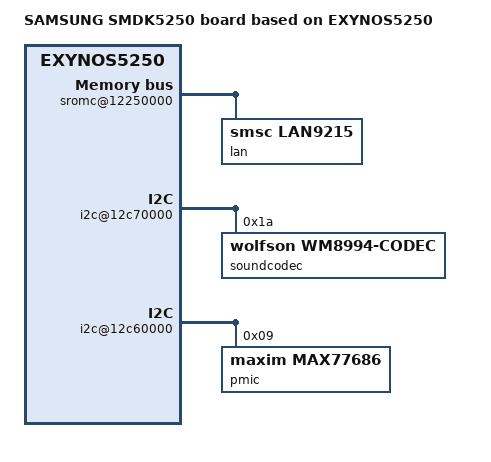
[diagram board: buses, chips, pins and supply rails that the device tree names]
/*
 * SAMSUNG SMDK5250 board device tree source
 *
 * Copyright (c) 2012 Samsung Electronics Co., Ltd.
 *		http://www.samsung.com
 *
 * This program is free software; you can redistribute it and/or modify
 * it under the terms of the GNU General Public License version 2 as
 * published by the Free Software Foundation.
*/

/dts-v1/;
#include "exynos5250.dtsi"

/ {
	model = "SAMSUNG SMDK5250 board based on EXYNOS5250";
	compatible = "samsung,smdk5250", "samsung,exynos5250";

	aliases {
		i2c0 = "/i2c@12c60000";
		i2c1 = "/i2c@12c70000";
		i2c2 = "/i2c@12c80000";
		i2c3 = "/i2c@12c90000";
		i2c4 = "/i2c@12ca0000";
		i2c5 = "/i2c@12cb0000";
		i2c6 = "/i2c@12cc0000";
		i2c7 = "/i2c@12cd0000";
		spi0 = "/spi@12d20000";
		spi1 = "/spi@12d30000";
		spi2 = "/spi@12d40000";
		spi3 = "/spi@131a0000";
		spi4 = "/spi@131b0000";
		mmc0 = "/mmc@12200000";
		mmc1 = "/mmc@12210000";
		mmc2 = "/mmc@12220000";
		mmc3 = "/mmc@12230000";
		serial0 = "/serial@12C30000";
		console = "/serial@12C30000";
		i2s = "/sound@3830000";
	};

	sromc@12250000 {
		bank = <1>;
		srom-timing = <1 9 12 1 6 1 1>;
		width = <2>;
		lan@5000000 {
			compatible = "smsc,lan9215", "smsc,lan";
			reg = <0x5000000 0x100>;
			phy-mode = "mii";
		};
	};

	sound@3830000 {
		samsung,codec-type = "wm8994";
	};

	sound@12d60000 {
		status = "disabled";
	};

	i2c@12c70000 {
		soundcodec@1a {
			reg = <0x1a>;
			compatible = "wolfson,wm8994-codec";
		};
	};

	i2c@12c60000 {
		pmic@9 {
			reg = <0x9>;
			compatible = "maxim,max77686";
		};
	};

	tmu@10060000 {
		samsung,min-temp	= <25>;
		samsung,max-temp	= <125>;
		samsung,start-warning	= <95>;
		samsung,start-tripping	= <105>;
		samsung,hw-tripping	= <110>;
		samsung,efuse-min-value	= <40>;
		samsung,efuse-value	= <55>;
		samsung,efuse-max-value	= <100>;
		samsung,slope		= <274761730>;
		samsung,dc-value	= <25>;
	};

	fimd@14400000 {
		samsung,vl-freq = <60>;
		samsung,vl-col = <2560>;
		samsung,vl-row = <1600>;
		samsung,vl-width = <2560>;
		samsung,vl-height = <1600>;

		samsung,vl-clkp;
		samsung,vl-dp;
		samsung,vl-bpix = <4>;

		samsung,vl-hspw = <32>;
		samsung,vl-hbpd = <80>;
		samsung,vl-hfpd = <48>;
		samsung,vl-vspw = <6>;
		samsung,vl-vbpd = <37>;
		samsung,vl-vfpd = <3>;
		samsung,vl-cmd-allow-len = <0xf>;

		samsung,winid = <3>;
		samsung,interface-mode = <1>;
		samsung,dp-enabled = <1>;
		samsung,dual-lcd-enabled = <0>;
	};

	dp@145b0000 {
		samsung,lt-status = <0>;

		samsung,master-mode = <0>;
		samsung,bist-mode = <0>;
		samsung,bist-pattern = <0>;
		samsung,h-sync-polarity = <0>;
		samsung,v-sync-polarity = <0>;
		samsung,interlaced = <0>;
		samsung,color-space = <0>;
		samsung,dynamic-range = <0>;
		samsung,ycbcr-coeff = <0>;
		samsung,color-depth = <1>;
	};

	mmc@12200000 {
		samsung,bus-width = <8>;
		samsung,timing = <1 3 3>;
		samsung,removable = <0>;
	};

	mmc@12210000 {
		status = "disabled";
	};

	mmc@12220000 {
		samsung,bus-width = <4>;
		samsung,timing = <1 2 3>;
		samsung,removable = <1>;
	};

	mmc@12230000 {
		status = "disabled";
	};

	ehci@12110000 {
		samsung,vbus-gpio = <&gpx2 6 GPIO_ACTIVE_HIGH>;
	};
};
